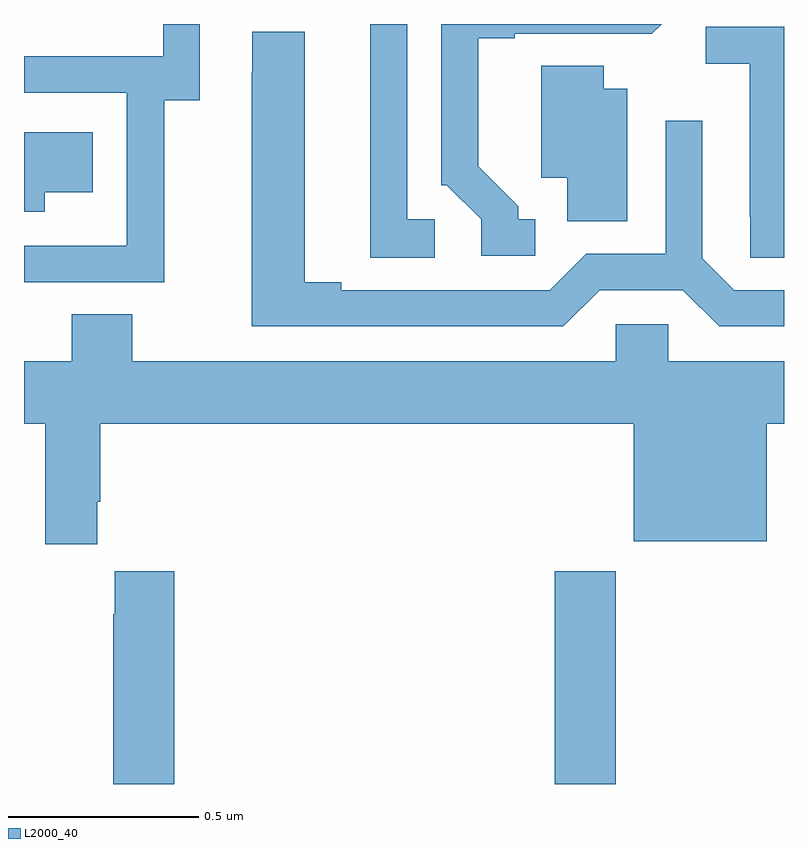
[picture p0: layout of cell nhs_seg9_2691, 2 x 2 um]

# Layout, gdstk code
import gdstk
lib = gdstk.Library(unit=1e-6, precision=1e-09)
def R(c, l, rs):  # rectangles x0, y0, x1, y1
    for r in rs: c.add(gdstk.rectangle(r[:2], r[2:], *l))
def P(c, l, *ps):  # polygons
    for p in ps: c.add(gdstk.Polygon(p, *l))
L2000_40 = (2000, 40)

nhs_seg9_2691 = lib.new_cell('nhs_seg9_2691')
R(nhs_seg9_2691, L2000_40, [(145.397,1167.5,145.557,1168.06)])
P(nhs_seg9_2691, L2000_40, [(145.345,1168.986),(145.3,1168.986),(145.3,1169.021),(145.195,1169.126),(145.195,1169.463),(145.291,1169.463),(145.291,1169.475),(145.556,1169.475),(145.556,1169.474),(145.652,1169.474),(145.678,1169.5),(145.098,1169.5),(145.098,1169.076),(145.113,1169.076),(145.203,1168.986),(145.203,1168.89),(145.345,1168.89)],
  [(144.369,1169.299),(144.463,1169.299),(144.463,1169.5),(144.366,1169.5),(144.366,1169.415),(144,1169.415),(144,1169.319),(144.27,1169.319),(144.27,1168.918),(144.269,1168.918),(144.269,1168.917),(144,1168.917),(144,1168.821),(144.369,1168.821)],
  [(145.081,1168.986),(145.008,1168.986),(145.008,1169.5),(144.911,1169.5),(144.911,1168.885),(145.081,1168.885)],
  [(146,1169.493),(145.794,1169.493),(145.794,1169.396),(145.91,1169.396),(145.91,1168.993),(145.911,1168.993),(145.911,1168.885),(146,1168.885)],
  [(145.515,1168.8),(145.733,1168.8),(145.829,1168.704),(146,1168.704),(146,1168.8),(145.869,1168.8),(145.785,1168.884),(145.785,1169.245),(145.689,1169.245),(145.689,1168.896),(145.479,1168.896),(145.383,1168.8),(144.835,1168.8),(144.835,1168.82),(144.739,1168.82),(144.739,1169.48),(144.6,1169.48),(144.6,1169.372),(144.599,1169.372),(144.599,1168.704),(145.419,1168.704)],
  [(145.588,1169.329),(145.525,1169.329),(145.525,1169.39),(145.361,1169.39),(145.361,1169.096),(145.43,1169.096),(145.43,1168.981),(145.588,1168.981)],
  [(144.055,1169.057),(144.181,1169.057),(144.181,1169.215),(144,1169.215),(144,1169.006),(144.055,1169.006)],
  [(144.193,1168.243),(144.2,1168.243),(144.2,1168.448),(145.604,1168.448),(145.604,1168.139),(145.954,1168.139),(145.954,1168.448),(146,1168.448),(146,1168.612),(145.695,1168.612),(145.695,1168.71),(145.557,1168.71),(145.557,1168.612),(144.285,1168.612),(144.285,1168.736),(144.125,1168.736),(144.125,1168.612),(144,1168.612),(144,1168.448),(144.056,1168.448),(144.056,1168.131),(144.193,1168.131)],
  [(144.395,1168.06),(144.239,1168.06),(144.239,1167.947),(144.235,1167.947),(144.235,1167.5),(144.395,1167.5)])

lib.write_gds('nhs_seg9_2691.gds')
